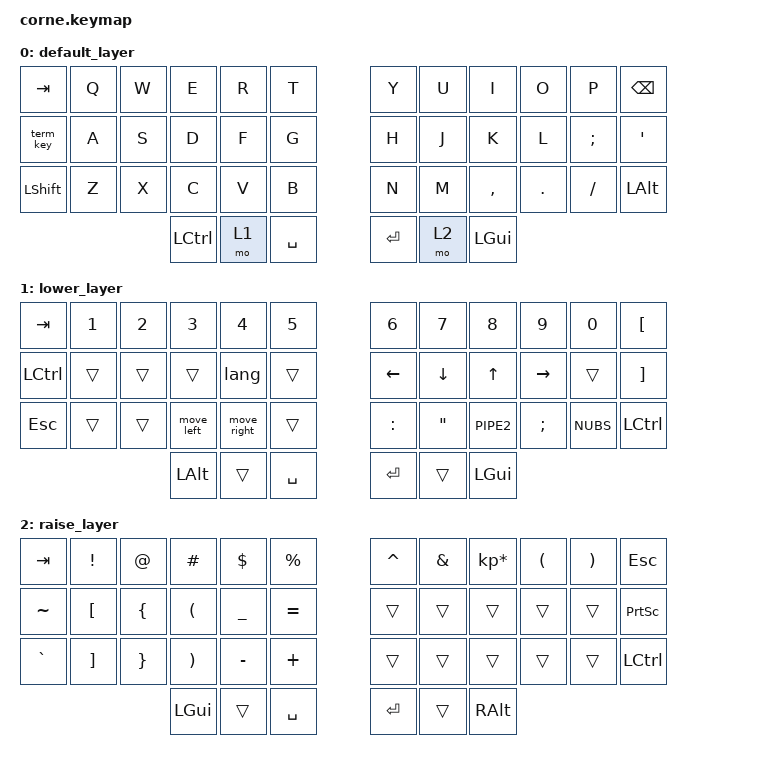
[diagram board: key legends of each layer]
/*
 * Copyright (c) 2021 The ZMK Contributors
 *
 * SPDX-License-Identifier: MIT
 */

#include <behaviors.dtsi>
#include <dt-bindings/zmk/keys.h>
#include <dt-bindings/zmk/bt.h>
#include <dt-bindings/zmk/rgb.h>

&led_strip {
    chain-length = <27>;
};

/ {
        macros {
            term_key: term_key {
                compatible = "zmk,behavior-macro";
                #binding-cells = <0>;
                bindings
                    = <&macro_press &kp LCTRL>
                    , <&macro_tap &kp Y>
                    , <&macro_release &kp LCTRL>
                    ;
            };
            lang: lang {
                compatible = "zmk,behavior-macro";
                #binding-cells = <0>;
                bindings
                    = <&macro_press &kp LCTRL>
                    , <&macro_tap &kp SPACE>
                    , <&macro_release &kp LCTRL>
                    ;
            };
            move_left: move_left {
                compatible = "zmk,behavior-macro";
                #binding-cells = <0>;
                bindings
                    = <&macro_press &kp LCTRL>
                    , <&macro_tap &kp LEFT>
                    , <&macro_release &kp LCTRL>
                    ;
            };
            move_right: move_right {
                compatible = "zmk,behavior-macro";
                #binding-cells = <0>;
                bindings
                    = <&macro_press &kp LCTRL>
                    , <&macro_tap &kp RIGHT>
                    , <&macro_release &kp LCTRL>
                    ;
            };
        };
        keymap {
                compatible = "zmk,keymap";

                default_layer {
// -----------------------------------------------------------------------------------------
// |  TAB |  Q  |  W  |  E  |  R  |  T  |   |  Y  |  U   |  I  |  O  |  P  | BKSP |
// | M0 |  A  |  S  |  D  |  F  |  G  |   |  H  |  J   |  K  |  L  |  ;  |  '   |
// | SHFT |  Z  |  X  |  C  |  V  |  B  |   |  N  |  M   |  ,  |  .  |  /  | LALT |
//                    | CTRL | LWR | SPC |   | ENT | RSE  | GUI |
                        bindings = <
   &kp TAB   &kp Q &kp W &kp E &kp R &kp T   &kp Y &kp U  &kp I     &kp O   &kp P    &kp BSPC
   &term_key &kp A &kp S &kp D &kp F &kp G   &kp H &kp J  &kp K     &kp L   &kp SEMI &kp SQT
   &kp LSHFT &kp Z &kp X &kp C &kp V &kp B   &kp N &kp M  &kp COMMA &kp DOT &kp FSLH &kp LALT
                  &kp LCTRL &mo 1 &kp SPACE     &kp RET &mo 2 &kp LGUI
                        >;
                };
                lower_layer {
// -----------------------------------------------------------------------------------------
// |  TAB |  1    |  2  |  3  |  4  |  5  |   |  6  |  7  |  8  |  9  |  0  | BKSP |
// | LCTRL|       |     |     | M4  |     |   | LFT | DWN |  UP | RGT |     |      |
// | ESC  |       |     | M3  | M2  |     |   |     |     |     |     |     |      |
//                      | GUI |     | SPC |   | ENT |     | ALT |
                        bindings = <
   &kp TAB    &kp N1       &kp N2       &kp N3       &kp N4       &kp N5         &kp N6   &kp N7   &kp N8 &kp N9    &kp N0 &kp LBKT
   &kp LCTRL &trans &trans &trans &lang &trans   &kp LEFT &kp DOWN &kp UP &kp RIGHT &trans &kp RBKT
   &kp ESC  &trans    &trans       &move_left       &move_right       &trans         &kp COLON   &kp DQT   &kp PIPE2 &kp SEMI    &kp NUBS &kp LCTRL
                                    &kp LALT     &trans       &kp SPACE      &kp RET  &trans   &kp LGUI
                        >;
                };

                raise_layer {
// -----------------------------------------------------------------------------------------
// |  TAB |   !   |   @   |   #   |   $   |   %   |   |  ^  |  &  |  *  |  (  |  )  | ESCP |
// |   ~  |[      |{      |  (    |_      |       |   |  -  |  =  |  [  |  ]  |  \  |  `   |
// | `    |  ]    |  }    |)      |-      |=      |   |  _  |  +  |  {  |  }  | "|" |  ~   |
//                            | GUI |     |  +    |   | ENT |     | ALT |
                        bindings = <
   &kp  TAB  &kp EXCL &kp AT &kp HASH &kp DLLR &kp PRCNT   &kp CARET &kp AMPS  &kp KP_MULTIPLY &kp LPAR &kp RPAR &kp ESC
   &kp TILDE &kp LBKT &kp LBRC &kp LPAR   &kp UNDER   &kp EQUAL     &trans &trans &trans  &trans &trans &kp PSCRN
   &kp GRAVE &kp RBKT &kp RBRC &kp RPAR   &kp MINUS   &kp PLUS      &trans &trans  &trans  &trans &trans &kp LCTRL
                             &kp LGUI &trans   &kp SPACE   &kp RET   &trans    &kp RALT
                        >;
                };
        };
};
